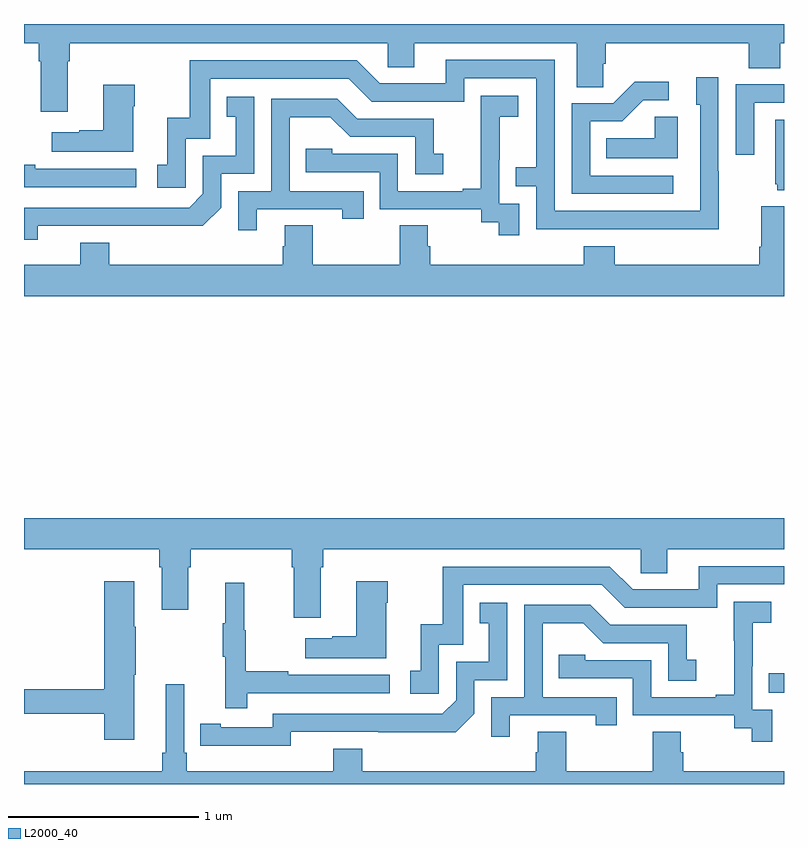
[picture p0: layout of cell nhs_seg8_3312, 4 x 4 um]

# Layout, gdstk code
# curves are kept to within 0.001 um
import gdstk
lib = gdstk.Library(unit=1e-6, precision=1e-09)
def R(c, l, rs):  # rectangles x0, y0, x1, y1
    for r in rs: c.add(gdstk.rectangle(r[:2], r[2:], *l))
def P(c, l, *ps):  # polygons
    for p in ps: c.add(gdstk.Polygon(p, *l))
L2000_40 = (2000, 40)

nhs_seg8_3312 = lib.new_cell('nhs_seg8_3312')
R(nhs_seg8_3312, L2000_40, [(318.919,1146.381,319,1146.482)])
P(nhs_seg8_3312, L2000_40, [(315.229,1149.704),(315.242,1149.704),(315.242,1149.8),(316.914,1149.8),(316.914,1149.673),(317.053,1149.673),(317.053,1149.8),(317.909,1149.8),(317.909,1149.568),(318.048,1149.568),(318.048,1149.691),(318.062,1149.691),(318.062,1149.8),(318.815,1149.8),(318.815,1149.667),(318.98,1149.667),(318.98,1149.8),(319,1149.8),(319,1149.9),(315,1149.9),(315,1149.8),(315.077,1149.8),(315.077,1149.704),(315.089,1149.704),(315.089,1149.438),(315.229,1149.438)],
  [(318.657,1149.125),(318.654,1149.125),(318.654,1149.619),(318.539,1149.619),(318.539,1149.474),(318.558,1149.474),(318.558,1148.916),(317.793,1148.916),(317.793,1149.711),(317.219,1149.711),(317.219,1149.588),(316.872,1149.588),(316.752,1149.708),(315.873,1149.708),(315.873,1149.406),(315.755,1149.406),(315.755,1149.159),(315.702,1149.159),(315.702,1149.039),(315.852,1149.039),(315.852,1149.297),(315.981,1149.297),(315.981,1149.612),(316.71,1149.612),(316.83,1149.492),(317.316,1149.492),(317.316,1149.615),(317.697,1149.615),(317.697,1149.146),(317.587,1149.146),(317.587,1149.045),(317.697,1149.045),(317.697,1148.82),(318.657,1148.819)],
  [(318.418,1149.102),(317.979,1149.102),(317.979,1149.387),(318.148,1149.387),(318.259,1149.498),(318.394,1149.498),(318.394,1149.596),(318.215,1149.596),(318.102,1149.483),(317.883,1149.483),(317.883,1149.006),(318.418,1149.006)],
  [(318.843,1149.486),(319,1149.486),(319,1149.582),(318.747,1149.582),(318.747,1149.213),(318.843,1149.213)],
  [(315.574,1149.467),(315.582,1149.467),(315.582,1149.58),(315.416,1149.58),(315.416,1149.341),(315.29,1149.341),(315.29,1149.331),(315.147,1149.331),(315.147,1149.227),(315.574,1149.227)],
  [(317.607,1148.955),(317.502,1148.955),(317.502,1149.185),(317.504,1149.185),(317.504,1149.413),(317.602,1149.413),(317.602,1149.523),(317.404,1149.523),(317.404,1149.317),(317.405,1149.317),(317.405,1149.034),(317.309,1149.034),(317.309,1149.021),(316.968,1149.021),(316.968,1149.216),(316.623,1149.216),(316.623,1149.243),(316.483,1149.243),(316.483,1149.12),(316.872,1149.12),(316.872,1148.925),(317.406,1148.925),(317.406,1148.857),(317.499,1148.857),(317.499,1148.787),(317.607,1148.787)],
  [(315.072,1148.838),(315.94,1148.837),(316.038,1148.934),(316.038,1149.111),(316.212,1149.111),(316.212,1149.517),(316.066,1149.517),(316.066,1149.411),(316.115,1149.411),(316.115,1149.207),(315.942,1149.207),(315.942,1149.006),(315.87,1148.934),(315,1148.934),(315,1148.765),(315.072,1148.765)],
  [(316.225,1148.925),(316.676,1148.925),(316.676,1148.874),(316.787,1148.874),(316.787,1149.021),(316.398,1149.021),(316.398,1149.41),(316.612,1149.41),(316.716,1149.306),(317.058,1149.306),(317.058,1149.108),(317.206,1149.108),(317.206,1149.217),(317.157,1149.217),(317.157,1149.402),(316.753,1149.402),(316.648,1149.507),(316.302,1149.507),(316.302,1149.021),(316.128,1149.021),(316.128,1148.814),(316.225,1148.814)],
  [(318.442,1149.413),(318.321,1149.413),(318.321,1149.298),(318.064,1149.298),(318.064,1149.194),(318.442,1149.194)],
  [(319,1149.397),(318.953,1149.397),(318.953,1149.057),(318.965,1149.057),(318.965,1149.026),(319,1149.026)],
  [(315.592,1149.138),(315.059,1149.138),(315.059,1149.158),(315,1149.158),(315,1149.042),(315.592,1149.042)],
  [(319,1148.941),(318.881,1148.941),(318.881,1148.728),(318.869,1148.728),(318.869,1148.632),(318.11,1148.632),(318.11,1148.731),(317.945,1148.731),(317.945,1148.632),(317.138,1148.632),(317.138,1148.73),(317.125,1148.73),(317.125,1148.84),(316.978,1148.84),(316.978,1148.632),(316.521,1148.632),(316.521,1148.84),(316.373,1148.84),(316.373,1148.73),(316.361,1148.73),(316.361,1148.632),(315.449,1148.632),(315.449,1148.749),(315.296,1148.749),(315.296,1148.632),(315,1148.632),(315,1148.468),(319,1148.468)],
  [(316.561,1147.04),(316.574,1147.04),(316.574,1147.136),(318.246,1147.136),(318.246,1147.009),(318.385,1147.009),(318.385,1147.136),(319,1147.136),(319,1147.3),(315,1147.3),(315,1147.136),(315.713,1147.136),(315.713,1147.04),(315.725,1147.04),(315.725,1146.816),(315.865,1146.816),(315.865,1147.04),(315.878,1147.04),(315.878,1147.136),(316.409,1147.136),(316.409,1147.04),(316.421,1147.04),(316.421,1146.774),(316.561,1146.774)],
  [(317.184,1146.633),(317.313,1146.633),(317.313,1146.948),(318.042,1146.948),(318.162,1146.828),(318.648,1146.828),(318.648,1146.951),(319,1146.951),(319,1147.047),(318.551,1147.047),(318.551,1146.924),(318.204,1146.924),(318.084,1147.044),(317.205,1147.044),(317.205,1146.742),(317.087,1146.742),(317.087,1146.495),(317.034,1146.495),(317.034,1146.375),(317.184,1146.375)],
  [(316.906,1146.854),(316.914,1146.854),(316.914,1146.967),(316.748,1146.967),(316.748,1146.677),(316.622,1146.677),(316.622,1146.667),(316.479,1146.667),(316.479,1146.563),(316.906,1146.563)],
  [(315.58,1146.475),(315.588,1146.475),(315.588,1146.728),(315.58,1146.728),(315.58,1146.967),(315.422,1146.967),(315.422,1146.398),(315,1146.398),(315,1146.27),(315.422,1146.27),(315.422,1146.132),(315.58,1146.132)],
  [(316.175,1146.378),(316.924,1146.378),(316.924,1146.474),(316.391,1146.474),(316.391,1146.494),(316.168,1146.494),(316.168,1146.708),(316.16,1146.708),(316.16,1146.958),(316.058,1146.958),(316.058,1146.745),(316.047,1146.745),(316.047,1146.571),(316.058,1146.571),(316.058,1146.3),(316.175,1146.3)],
  [(318.939,1146.291),(318.834,1146.291),(318.834,1146.521),(318.836,1146.521),(318.836,1146.749),(318.934,1146.749),(318.934,1146.859),(318.736,1146.859),(318.736,1146.653),(318.737,1146.653),(318.737,1146.37),(318.641,1146.37),(318.641,1146.357),(318.3,1146.357),(318.3,1146.552),(317.955,1146.552),(317.955,1146.579),(317.815,1146.579),(317.815,1146.456),(318.204,1146.456),(318.204,1146.261),(318.738,1146.261),(318.738,1146.193),(318.831,1146.193),(318.831,1146.123),(318.939,1146.123)],
  [(316.404,1146.174),(317.272,1146.173),(317.37,1146.27),(317.37,1146.447),(317.544,1146.447),(317.544,1146.853),(317.398,1146.853),(317.398,1146.747),(317.447,1146.747),(317.447,1146.543),(317.274,1146.543),(317.274,1146.342),(317.202,1146.27),(316.308,1146.27),(316.308,1146.198),(316.036,1146.198),(316.036,1146.218),(315.928,1146.218),(315.928,1146.102),(316.404,1146.101)],
  [(317.557,1146.261),(318.008,1146.261),(318.008,1146.21),(318.119,1146.21),(318.119,1146.357),(317.73,1146.357),(317.73,1146.746),(317.944,1146.746),(318.048,1146.642),(318.39,1146.642),(318.39,1146.444),(318.538,1146.444),(318.538,1146.553),(318.489,1146.553),(318.489,1146.738),(318.085,1146.738),(317.98,1146.843),(317.634,1146.843),(317.634,1146.357),(317.46,1146.357),(317.46,1146.15),(317.557,1146.15)],
  [(317.853,1146.176),(317.705,1146.176),(317.705,1146.066),(317.693,1146.066),(317.693,1145.968),(316.781,1145.968),(316.781,1146.085),(316.628,1146.085),(316.628,1145.968),(315.857,1145.968),(315.857,1146.064),(315.843,1146.064),(315.843,1146.424),(315.746,1146.424),(315.746,1146.064),(315.727,1146.064),(315.727,1145.968),(315,1145.968),(315,1145.9),(319,1145.9),(319,1145.968),(318.47,1145.968),(318.47,1146.066),(318.457,1146.066),(318.457,1146.176),(318.31,1146.176),(318.31,1145.968),(317.853,1145.968)])

lib.write_gds('nhs_seg8_3312.gds')
